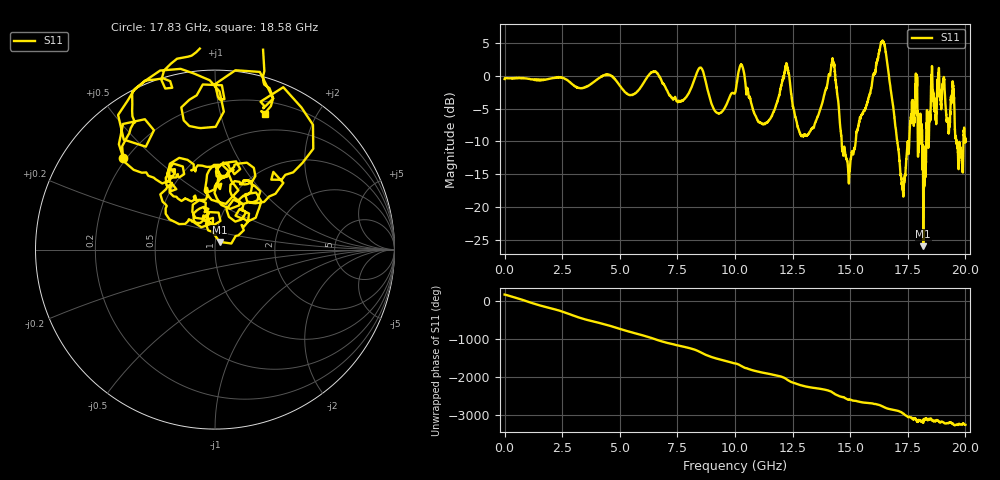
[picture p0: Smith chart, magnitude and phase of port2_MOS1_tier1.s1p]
! Created with skrf 1.8.0 (http://scikit-rf.org).
# GHz S RI R 50.0
!freq ReS11 ImS11
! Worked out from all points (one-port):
!   10000 points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, 3 MHz to 20 GHz, reference 50 ohm
!   lowest |S11| = -26.0 dB at 18.17 GHz (marker M1), VSWR 1.11, Z = 52.5 + j4.51 ohm
!   |S11| at or under -10 dB: 14.63 GHz to 15.24 GHz (607.8 MHz wide, 4.07 % of centre); 17.04 GHz to 17.5 GHz (458.4 MHz wide, 2.65 % of centre); 19.61 GHz to 19.92 GHz (304 MHz wide, 1.54 % of centre) (the widest 3 of 13)
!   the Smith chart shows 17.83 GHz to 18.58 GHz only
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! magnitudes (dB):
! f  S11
! 3 MHz  -0.5
! 2.503 GHz  -0.3
! 5.003 GHz  -1.5
! 6.523 GHz  0.7
! 7.503 GHz  -4.0
! 8.485 GHz  1.3
! 9.223 GHz  -5.6
! 10 GHz  -2.6
! 10.3 GHz  1.7
! 10.87 GHz  -5.9
! 11.32 GHz  -7.3
! 12.24 GHz  1.6
! 12.5 GHz  -4.6
! 13.18 GHz  -8.9
! 14.25 GHz  2.3
! 14.65 GHz  -11.1
! 15 GHz  -13.2
! 16.4 GHz  5.4
! 17.24 GHz  -16.4
! 17.5 GHz  -10.0
! 17.81 GHz  -4.3
! 18.17 GHz  -26.0
! 18.53 GHz  -0.5
! 18.86 GHz  0.6
! 19.25 GHz  -7.0
! 19.44 GHz  -1.5
! 19.79 GHz  -11.1
! 20 GHz  -10.0
